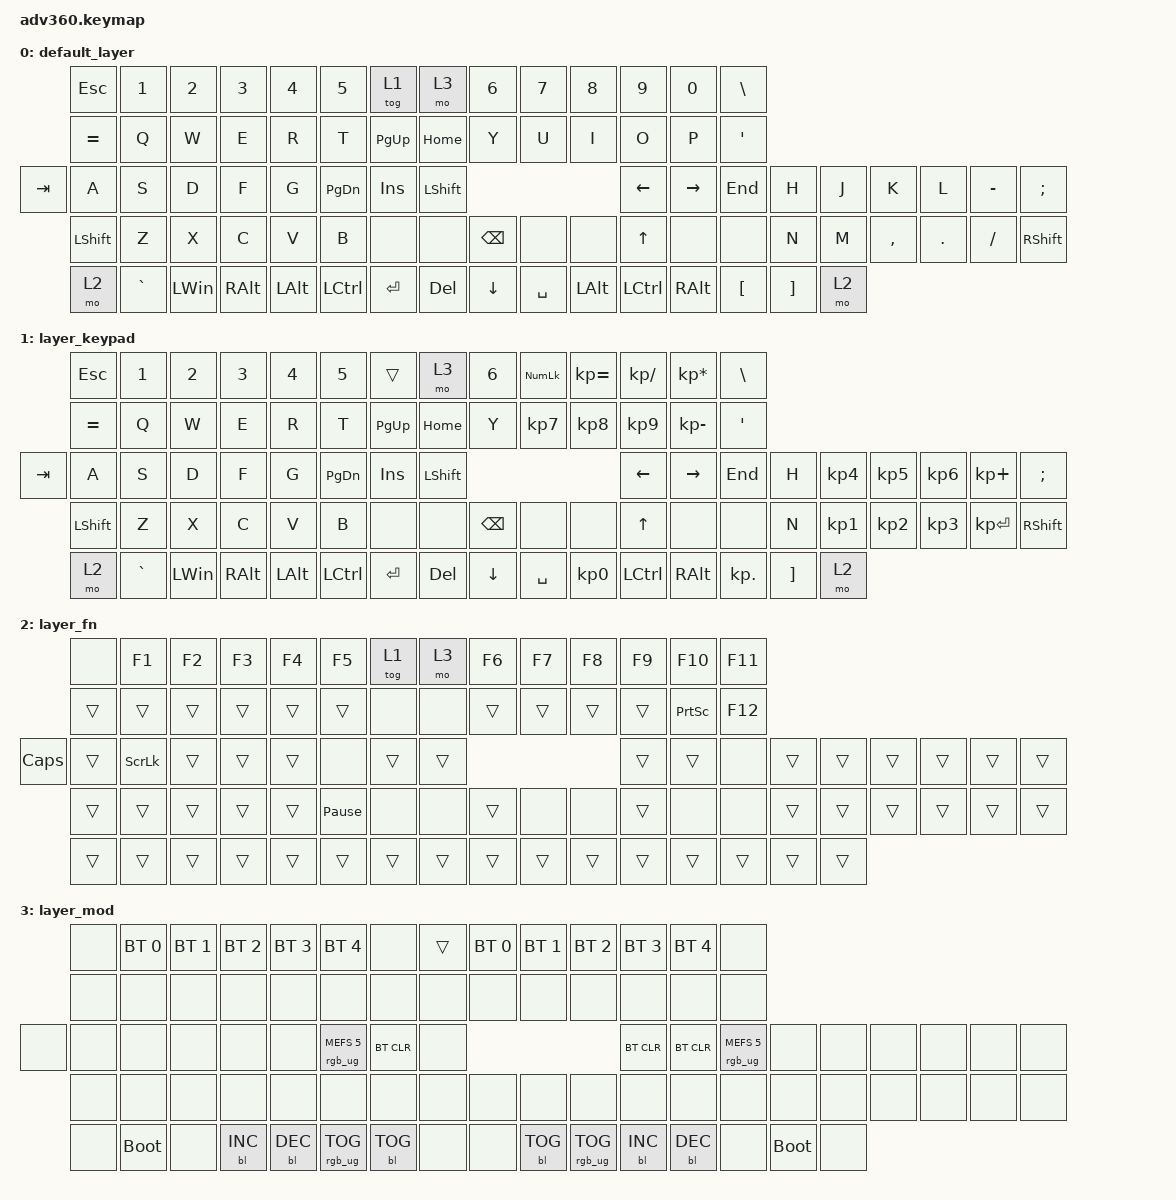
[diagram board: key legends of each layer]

/*
 * Copyright (c) 2020 The ZMK Contributors
 *
 * SPDX-License-Identifier: MIT
 */


/* THIS FILE WAS GENERATED!
 *
 * This file was generated automatically. You may or may not want to
 * edit it directly.
 */

#include <behaviors.dtsi>
#include <dt-bindings/zmk/keys.h>
#include <dt-bindings/zmk/bt.h>
#include <dt-bindings/zmk/rgb.h>
#include <dt-bindings/zmk/backlight.h>

/ {
  behaviors {
    #include "macros.dtsi"

    hm: homerow_mods {
        compatible = "zmk,behavior-hold-tap";
        label = "HOMEROW_MODS";
        #binding-cells = <2>;
        tapping-term-ms = <200>;
        quick_tap_ms = <175>;
        flavor = "tap-preferred";
        bindings = <&kp>, <&kp>;
    };
  };

    keymap {
        compatible = "zmk,keymap";


        default_layer {
            bindings = <
   &kp ESC     &kp N1    &kp N2    &kp N3    &kp N4     &kp N5                   &tog 1     &mo 3          &kp N6     &kp N7    &kp N8     &kp N9     &kp N0  &kp BACKSLASH
 &kp EQUAL      &kp Q     &kp W     &kp E     &kp R      &kp T                &kp PG_UP  &kp HOME           &kp Y      &kp U     &kp I      &kp O      &kp P        &kp SQT
   &kp TAB      &kp A     &kp S     &kp D     &kp F      &kp G            &kp PAGE_DOWN   &kp INS  &kp LEFT_SHIFT                        &kp LEFT  &kp RIGHT        &kp END     &kp H   &kp J      &kp K    &kp L  &kp MINUS   &kp SEMI
 &kp LSHFT      &kp Z     &kp X     &kp C     &kp V      &kp B                    &none     &none   &kp BACKSPACE      &none     &none     &kp UP      &none          &none     &kp N   &kp M  &kp COMMA  &kp DOT   &kp FSLH  &kp RSHFT
     &mo 2  &kp GRAVE  &kp LWIN  &kp RALT  &kp LALT  &kp LCTRL                &kp ENTER   &kp DEL        &kp DOWN  &kp SPACE  &kp LALT  &kp LCTRL   &kp RALT       &kp LBKT  &kp RBKT   &mo 2
            >;
        };

        layer_keypad {
            bindings = <
   &kp ESC     &kp N1    &kp N2    &kp N3    &kp N4     &kp N5               &trans     &mo 3          &kp N6  &kp KP_NUM  &kp KP_EQUAL  &kp KP_DIVIDE  &kp KP_MULTIPLY  &kp BACKSLASH
 &kp EQUAL      &kp Q     &kp W     &kp E     &kp R      &kp T            &kp PG_UP  &kp HOME           &kp Y   &kp KP_N7     &kp KP_N8      &kp KP_N9     &kp KP_MINUS        &kp SQT
   &kp TAB      &kp A     &kp S     &kp D     &kp F      &kp G            &kp PG_DN   &kp INS  &kp LEFT_SHIFT                                 &kp LEFT        &kp RIGHT        &kp END     &kp H  &kp KP_N4  &kp KP_N5  &kp KP_N6   &kp KP_PLUS   &kp SEMI
 &kp LSHFT      &kp Z     &kp X     &kp C     &kp V      &kp B                &none     &none   &kp BACKSPACE       &none         &none         &kp UP            &none          &none     &kp N  &kp KP_N1  &kp KP_N2  &kp KP_N3  &kp KP_ENTER  &kp RSHFT
     &mo 2  &kp GRAVE  &kp LWIN  &kp RALT  &kp LALT  &kp LCTRL            &kp ENTER   &kp DEL        &kp DOWN   &kp SPACE     &kp KP_N0      &kp LCTRL         &kp RALT     &kp KP_DOT  &kp RBKT      &mo 2
            >;
        };

        layer_fn {
            bindings = <
        &none  &kp F1          &kp F2  &kp F3  &kp F4           &kp F5            &tog 1   &mo 3  &kp F6  &kp F7  &kp F8  &kp F9          &kp F10  &kp F11
       &trans  &trans          &trans  &trans  &trans           &trans             &none   &none  &trans  &trans  &trans  &trans  &kp PRINTSCREEN  &kp F12
 &kp CAPSLOCK  &trans  &kp SCROLLLOCK  &trans  &trans           &trans             &none  &trans  &trans                  &trans           &trans    &none  &trans  &trans  &trans  &trans  &trans  &trans
       &trans  &trans          &trans  &trans  &trans  &kp PAUSE_BREAK             &none   &none  &trans   &none   &none  &trans            &none    &none  &trans  &trans  &trans  &trans  &trans  &trans
       &trans  &trans          &trans  &trans  &trans           &trans            &trans  &trans  &trans  &trans  &trans  &trans           &trans   &trans  &trans  &trans
            >;
        };

        layer_mod {
            bindings = <
  &none  &bt BT_SEL 0  &bt BT_SEL 1  &bt BT_SEL 2  &bt BT_SEL 3     &bt BT_SEL 4                             &none      &trans  &bt BT_SEL 0  &bt BT_SEL 1     &bt BT_SEL 2  &bt BT_SEL 3  &bt BT_SEL 4                   &none
  &none         &none         &none         &none         &none            &none                             &none       &none         &none         &none            &none         &none         &none                   &none
  &none         &none         &none         &none         &none            &none            &rgb_ug RGB_MEFS_CMD 5  &bt BT_CLR         &none                                   &bt BT_CLR    &bt BT_CLR  &rgb_ug RGB_MEFS_CMD 5        &none   &none   &none   &none   &none   &none
  &none         &none         &none         &none         &none            &none                             &none       &none         &none         &none            &none         &none         &none                   &none        &none   &none   &none   &none   &none   &none
  &none   &bootloader         &none    &bl BL_INC    &bl BL_DEC  &rgb_ug RGB_TOG                        &bl BL_TOG       &none         &none    &bl BL_TOG  &rgb_ug RGB_TOG    &bl BL_INC    &bl BL_DEC                   &none  &bootloader   &none
            >;
        };

    };
};
